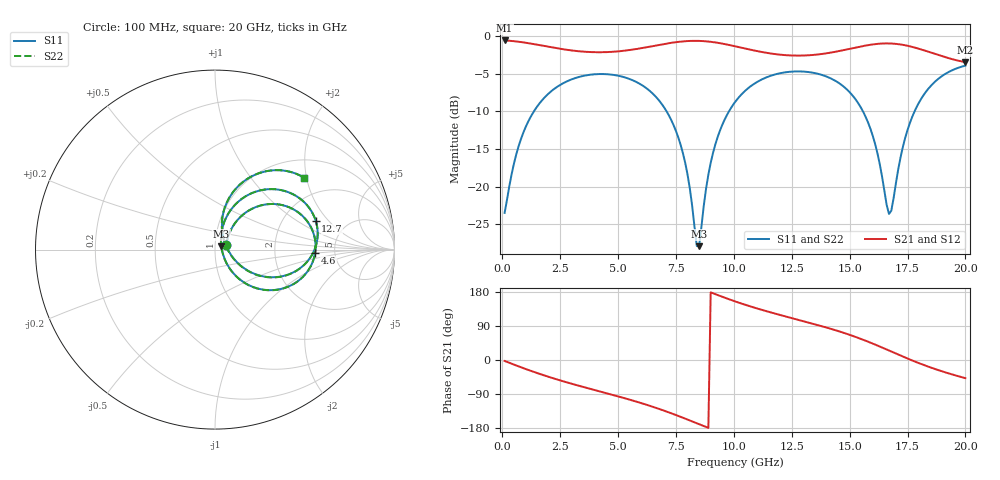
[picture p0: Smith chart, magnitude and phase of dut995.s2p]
! Touchstone file exported from HFSS 2026.1.0
!  File:  C:/ffzhzh/LocalFiles/Ansys_Project_Files/temp_train_TSV_RDL_995_1783289061_38704.aedt
!  Generated:  06:17:10 AM Jul  6, 2026
!  Design:  TSV_RDL
!  Project:  temp_train_TSV_RDL_995_1783289061_38704
! Variables:
!  h_bsmrdl = 3.98um
!  h_ox = 20um
!  h_rdl = 5um
!  h_sub = 82.07um
!  h_tmrdl = 2.23um
!  h_tsv = 82.07um
!  h_via = 3um
!  l_bsmrdl = 590.92um
!  l_sub = 6254.46um
!  l_tmrdl = 991.13um
!  m_sub = 200um
!  pitch = 46.85um
!  r_tsv = 12.88um
!  s_tmrdl = 10um
!  w_bsmrdl = 28.44um
!  w_sub = 500um
!  w_tmrdl = 10.62um
!  x_tsv_center1 = 996.44um
!  x_tsv_center2 = 1615.8um
!  x_tsv_center3 = 2617.55um
!  x_tsv_center4 = 3236.91um
!  x_tsv_center5 = 4238.66um
!  x_tsv_center6 = 4858.02um
# GHz S MA R 50.000000
! Terminal data exported
! Port[1] = TM_RDL1_1_T1
! Port[2] = TM_RDL5_1_T1
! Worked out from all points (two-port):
!   200 points, 100 MHz to 20 GHz, reference 50 ohm
!   highest |S21| = -0.55 dB at 100 MHz (marker M1); lowest = -3.4 dB at 20 GHz (marker M2)
!   |S21| within 3 dB of the highest: start of sweep to end of sweep
!   lowest |S11| = -27.9 dB at 8.5 GHz (marker M3), VSWR 1.08, Z = 53.7 + j1.94 ohm
!   |S11| at or under -10 dB: start of sweep to 1.365 GHz; 7.097 GHz to 9.789 GHz (2.692 GHz wide, 31.9 % of centre); 15.58 GHz to 17.8 GHz (2.228 GHz wide, 13.3 % of centre)
!   |S22| runs from -28.1 to -3.9 dB; largest |S21 - S12| = 1.6e-14
!   S11 on the Smith chart (normalised r, x): 100 MHz: 1.13, +0.05; 4.6 GHz: 3.52, -0.18; 12.7 GHz: 3.02, +1.47; 20 GHz: 1.43, +1.93
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0.1  0.06674 20.9  0.9384 -2.5  0.9384 -2.5  0.06674 20.9
! Gamma 0 0 0 0
! Port Impedance 50 0 50 0
0.6  0.163 52.5  0.9246 -14.4  0.9246 -14.4  0.163 52.5
1.3  0.3047 48.0  0.8908 -30.1  0.8908 -30.1  0.3047 48.0
3.5  0.5451 14.6  0.7905 -71.2  0.7905 -71.2  0.5452 14.6
4.6  0.5582 -1.8  0.786 -89.3  0.786 -89.3  0.5582 -1.8
6.8  0.3689 -37.7  0.878 -129.7  0.878 -129.7  0.369 -37.8
7.8  0.1668 -52.1  0.925 -152.3  0.925 -152.3  0.1668 -52.4
8.1  0.09685 -49.1  0.9315 -159.5  0.9315 -159.5  0.09667 -49.5
8.4  0.04019 -8.1  0.9328 -166.9  0.9328 -166.9  0.03949 -8.6
8.5  0.04007 26.8  0.932 -169.3  0.932 -169.3  0.03929 26.9
8.8  0.0967 68.2  0.9261 -176.6  0.9261 -176.6  0.09631 68.6
9.1  0.1672 71.3  0.9152 176.1  0.9152 176.1  0.1669 71.5
10.1  0.3732 57.1  0.8554 153.7  0.8554 153.7  0.3731 57.2
12.7  0.5838 16.0  0.744 107.4  0.744 107.4  0.5838 16.0
13.4  0.5728 5.7  0.7508 96.0  0.7508 96.0  0.5728 5.7
15.5  0.3327 -27.4  0.8567 55.4  0.8567 55.4  0.3327 -27.6
16.1  0.1923 -32.6  0.887 40.8  0.887 40.8  0.1921 -33.0
16.7  0.06571 15.8  0.8964 25.1  0.8964 25.1  0.0644 15.4
17.4  0.2108 77.2  0.8715 6.5  0.8715 6.5  0.2101 77.5
17.9  0.3396 72.3  0.8342 -6.1  0.8342 -6.1  0.3391 72.5
18.9  0.5311 55.7  0.745 -28.1  0.745 -28.1  0.5308 55.8
20  0.6378 38.9  0.6724 -48.0  0.6724 -48.0  0.6376 38.9
